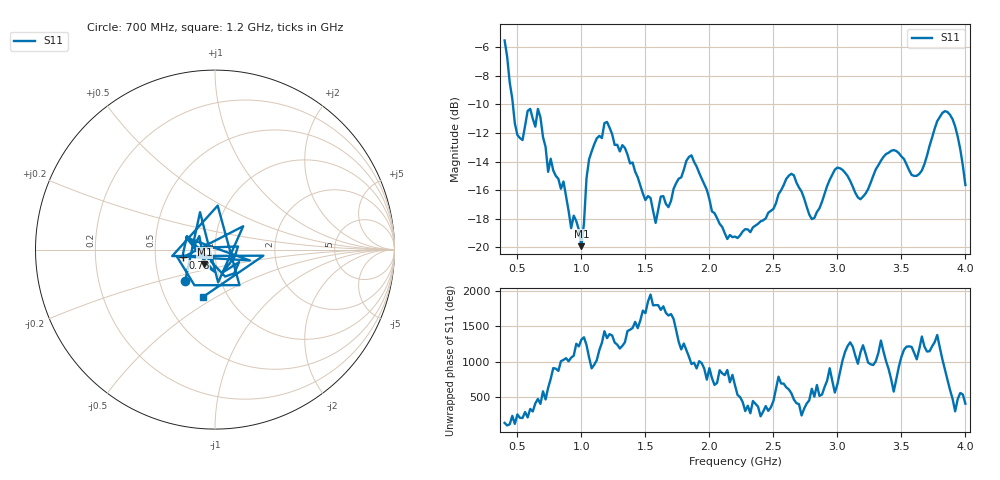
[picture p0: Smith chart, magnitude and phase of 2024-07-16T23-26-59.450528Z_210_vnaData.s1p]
!Created with skrf (http://scikit-rf.org).
# Hz S RI R 50.0
!freq ReS11 ImS11
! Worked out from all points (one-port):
!   181 points, 400 MHz to 4 GHz, reference 50 ohm
!   lowest |S11| = -19.9 dB at 1 GHz (marker M1), VSWR 1.22, Z = 43.9 - j7.28 ohm
!   |S11| at or under -10 dB: 464.5 MHz to end of sweep
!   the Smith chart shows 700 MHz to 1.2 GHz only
!   S11 on the Smith chart (normalised r, x): 700 MHz: 0.68, -0.25; 780 MHz: 0.69, -0.06; 1.2 GHz: 0.76, -0.44
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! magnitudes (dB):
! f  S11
! 400 MHz  -5.5
! 500 MHz  -12.1
! 660 MHz  -10.3
! 700 MHz  -12.3
! 740 MHz  -14.7
! 780 MHz  -14.6
! 860 MHz  -15.4
! 920 MHz  -18.7
! 1 GHz  -19.9
! 1.06 GHz  -13.8
! 1.2 GHz  -11.2
! 1.3 GHz  -13.3
! 1.58 GHz  -18.3
! 1.76 GHz  -15.2
! 1.86 GHz  -13.6
! 2.02 GHz  -17.5
! 2.2 GHz  -19.2
! 2.66 GHz  -15.0
! 2.8 GHz  -18.0
! 2.98 GHz  -14.6
! 3.1 GHz  -15.4
! 3.18 GHz  -16.6
! 3.44 GHz  -13.2
! 3.56 GHz  -14.6
! 3.66 GHz  -14.6
! 3.84 GHz  -10.5
! 3.92 GHz  -11.5
! 4 GHz  -15.6
